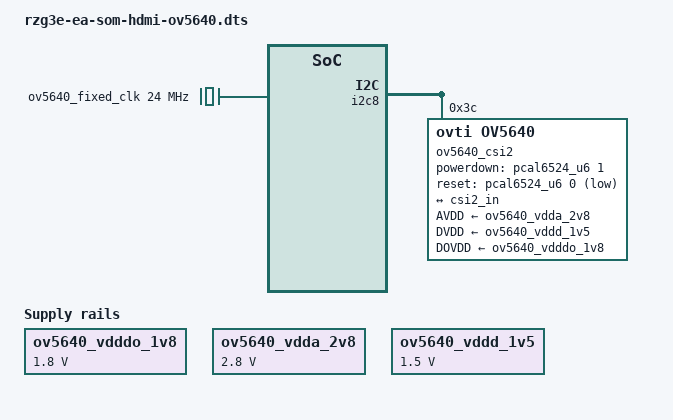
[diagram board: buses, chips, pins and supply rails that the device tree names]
// SPDX-License-Identifier: (GPL-2.0-only OR BSD-2-Clause)
/*
 * Device Tree Source for the Embedded Artists RZ/G3E SOM Board
 *
 * Copyright (C) 2025 Embedded Artists AB.
 */

/dts-v1/;
#include "rzg3e-ea-som-hdmi.dts"

/ {

	/delete-node/ osc25250-clk;

	ov5640_fixed_clk: osc25250-ov-clk {
		compatible = "fixed-clock";
		#clock-cells = <0>;
		clock-frequency = <24000000>;
	};

	ov5640_vdddo_1v8: 1p8v {
		compatible = "regulator-fixed";
		regulator-name = "camera_vdddo";
		regulator-min-microvolt = <1800000>;
		regulator-max-microvolt = <1800000>;
		regulator-always-on;
	};

	ov5640_vdda_2v8: 2p8v {
		compatible = "regulator-fixed";
		regulator-name = "camera_vdda";
		regulator-min-microvolt = <2800000>;
		regulator-max-microvolt = <2800000>;
		regulator-always-on;
	};

	ov5640_vddd_1v5: 1p5v {
		compatible = "regulator-fixed";
		regulator-name = "camera_vddd";
		regulator-min-microvolt = <1500000>;
		regulator-max-microvolt = <1500000>;
		regulator-always-on;
	};
};

&i2c8 { /* I2C-A, "PM" */
	
	/delete-node/ ox01f10_csi2@36;
	
	ov5640_csi2: ov5640_csi2@3c {
		compatible = "ovti,ov5640";
		reg = <0x3c>;
		status = "okay";
		clocks = <&ov5640_fixed_clk>;
		clock-names = "xclk";
		csi_id = <0>;

		AVDD-supply = <&ov5640_vdda_2v8>;
		DVDD-supply = <&ov5640_vddd_1v5>;
		DOVDD-supply = <&ov5640_vdddo_1v8>;

		powerdown-gpios = <&pcal6524_u6 1 GPIO_ACTIVE_HIGH>;  /* CSI0_PWR-CLK */
		reset-gpios = <&pcal6524_u6 0 GPIO_ACTIVE_LOW>;  /* CSI0_RST-DATA */

		mclk = <12000000>;
		mclk_source = <0>;
		mipi_csi;

		port {
			ov5640_to_csi2: endpoint {
				clock-lanes = <0>;
				data-lanes = <1 2>;
				remote-endpoint = <&csi2_in>;
			};
		};
	};	
};

&csi2_in {
	remote-endpoint = <&ov5640_to_csi2>;
};

/*&csi2 {
	status = "okay";

	ports {
		port {
			csi2_in: endpoint {
				remote-endpoint = <&ov5640_to_csi2>;
			};
		};
	};
};*/
